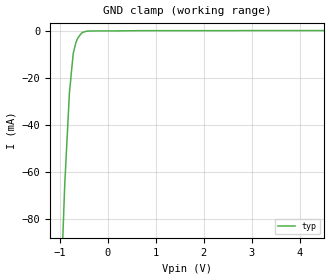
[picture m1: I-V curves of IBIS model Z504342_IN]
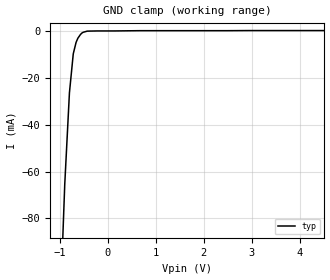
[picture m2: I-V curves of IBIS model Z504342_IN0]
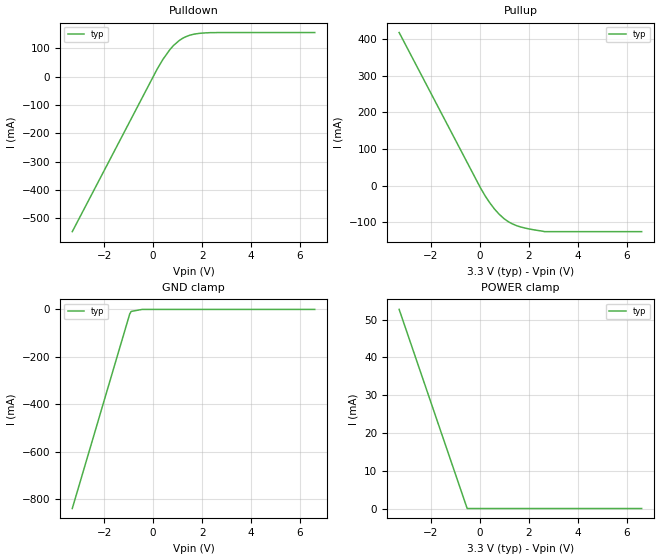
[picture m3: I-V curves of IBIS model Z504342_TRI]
| YOU ARE ONLY AUTHORIZED TO USE THIS SOFTWARE
| ACCORDING TO LICENSOR'S LICENSE RESTRICTIONS.
[IBIS Ver] 3.1
[File Name] mc74lcx244dw.ibs
[File Rev] 2.0
[Source] Measured and created by ICX Technology
[Date] Friday 7/14/00 9:08:12 AM
[Copyright]
| (C) COPYRIGHT 1993-2000
| MENTOR GRAPHICS CORPORATION
| ICX STANDARD LIBRARY, ICX PROJECT MODELING,
| ICX CUSTOM MODELING, ICX VENDOR MODEL
| ALL RIGHTS RESERVED.
| THE FOLLOWING ARE TRADEMARKS OR SERVICE MARKS OF
| MENTOR GRAPHICS CORPORATION:ICX (R), ICX STANDARD
| LIBRARY(R), ICX PROJECT MODELING(R), ICX CUSTOM
| MODELING(R), qualityIBIS(TM), MODELVIEWER(TM),
| AND MODELEDITOR(TM)
| ALL COPIES OF SOFTWARE, INCLUDING BUT NOT LIMITED TO
| ANY MODIFICATIONS, ENHANCEMENTS OR DERIVATIVE WORKS,
| MUST CONTAIN ALL MENTOR GRAPHICS CORPORATION'S
| NOTICES AND LEGENDS, INCLUDING THOSE EMBEDDED IN
| SOFTWARE AND THOSE AFFIXED TO SOFTWARE MEDIUM
| AND CONTAINER, AS RECEIVED FROM MENTOR GRAPHICS
| CORPORATION.
|  ZAP Model Builder 2.7
[Component] MC74LCX244DW
[Manufacturer] OnSemiconductor
[Package]
| variable   typ   min   max
R_pkg  .178ohms NA NA
L_pkg  4.43nH NA NA
C_pkg  .62pF NA NA
[Pin] signal_name  model_name  R_pin  L_pin C_pin
1 _G Z504342_IN0 .186 5.37n .68p
2 A0 Z504342_IN .182 4.89n .65p
3 Y3 Z504342_TRI .178 4.42n .62p
4 A1 Z504342_IN .174 3.96n .59p
5 Y2 Z504342_TRI .17 3.51n .56p
6 A2 Z504342_IN .17 3.51n .56p
7 Y1 Z504342_TRI .174 3.96n .59p
8 A3 Z504342_IN .178 4.42n .62p
9 Y0 Z504342_TRI .182 4.89n .65p
10 GROUND GND .186 5.37n .68p
11 A0 Z504342_IN .186 5.37n .68p
12 Y3 Z504342_TRI0 .182 4.89n .65p
13 A1 Z504342_IN .178 4.42n .62p
14 Y2 Z504342_TRI0 .174 3.96n .59p
15 A2 Z504342_IN .17 3.51n .56p
16 Y1 Z504342_TRI0 .17 3.51n .56p
17 A3 Z504342_IN .174 3.96n .59p
18 Y0 Z504342_TRI0 .178 4.42n .62p
19 _G Z504342_IN0 .182 4.89n .65p
20 VCC POWER .186 5.37n .68p
| Models and submodels in the file (4): Z504342_IN (Input), Z504342_IN0 (Input), Z504342_TRI (3-state), Z504342_TRI0 (3-state)
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| (C) COPYRIGHT 1993-2000
| MENTOR GRAPHICS CORPORATION
| ICX STANDARD LIBRARY, ICX PROJECT MODELING,
| ICX CUSTOM MODELING, ICX VENDOR MODEL
| ALL RIGHTS RESERVED.
| THE FOLLOWING ARE TRADEMARKS OR SERVICE MARKS OF
| MENTOR GRAPHICS CORPORATION:ICX (R), ICX STANDARD
| LIBRARY(R), ICX PROJECT MODELING(R), ICX CUSTOM
| MODELING(R), qualityIBIS(TM), MODELVIEWER(TM),
| AND MODELEDITOR(TM)
| ALL COPIES OF SOFTWARE, INCLUDING BUT NOT LIMITED TO
| ANY MODIFICATIONS, ENHANCEMENTS OR DERIVATIVE WORKS,
| MUST CONTAIN ALL MENTOR GRAPHICS CORPORATION'S
| NOTICES AND LEGENDS, INCLUDING THOSE EMBEDDED IN
| SOFTWARE AND THOSE AFFIXED TO SOFTWARE MEDIUM
| AND CONTAINER, AS RECEIVED FROM MENTOR GRAPHICS
| CORPORATION.
| Model Application Version 1.89 2/18/99.
[Model] Z504342_IN
Model_type Input
Vinl = 800.0mV
Vinh = 2.000V
C_comp 4.000pF NA NA
| variable typ   min   max
[Voltage Range] 3.300V NA NA
[GND Clamp Reference] 0.000V NA NA
[POWER Clamp Reference] 3.300V NA NA
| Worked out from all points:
|   GND clamp passes 1 mA (typ) near -0.55 V on its own axis
[GND Clamp]
-3.3V     -1.403A    NA         NA
-898.4mV  -65.33mA   NA         NA
-800.7mV  -26.23mA   NA         NA
-721.5mV  -9.481mA   NA         NA
-662.5mV  -4.622mA   NA         NA
-625mV    -2.954mA   NA         NA
-531.4mV  -620.6uA   NA         NA
-429.6mV  3.89uA     NA         NA
-214.8mV  83.47uA    NA         NA
6.6V      230.2uA    NA         NA
[POWER Clamp]
-3.3V     0A         NA         NA
6.6V      0A         NA         NA
| (C) COPYRIGHT 1993-2000
| MENTOR GRAPHICS CORPORATION
| ICX STANDARD LIBRARY, ICX PROJECT MODELING,
| ICX CUSTOM MODELING, ICX VENDOR MODEL
| ALL RIGHTS RESERVED.
| THE FOLLOWING ARE TRADEMARKS OR SERVICE MARKS OF
| MENTOR GRAPHICS CORPORATION:ICX (R), ICX STANDARD
| LIBRARY(R), ICX PROJECT MODELING(R), ICX CUSTOM
| MODELING(R), qualityIBIS(TM), MODELVIEWER(TM),
| AND MODELEDITOR(TM)
| ALL COPIES OF SOFTWARE, INCLUDING BUT NOT LIMITED TO
| ANY MODIFICATIONS, ENHANCEMENTS OR DERIVATIVE WORKS,
| MUST CONTAIN ALL MENTOR GRAPHICS CORPORATION'S
| NOTICES AND LEGENDS, INCLUDING THOSE EMBEDDED IN
| SOFTWARE AND THOSE AFFIXED TO SOFTWARE MEDIUM
| AND CONTAINER, AS RECEIVED FROM MENTOR GRAPHICS
| CORPORATION.
| Model Application Version 1.89 2/18/99.
[Model] Z504342_IN0
Model_type Input
Vinl = 800.0mV
Vinh = 2.000V
C_comp 4.000pF NA NA
| variable typ   min   max
[Voltage Range] 3.300V NA NA
[GND Clamp Reference] 0.000V NA NA
[POWER Clamp Reference] 3.300V NA NA
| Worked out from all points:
|   GND clamp passes 1 mA (typ) near -0.55 V on its own axis
[GND Clamp]
-3.3V     -1.403A    NA         NA
-898.4mV  -65.51mA   NA         NA
-800.7mV  -26.36mA   NA         NA
-720.8mV  -9.694mA   NA         NA
-662.4mV  -4.829mA   NA         NA
-625mV    -3.045mA   NA         NA
-531mV    -664.1uA   NA         NA
-429.7mV  -10.8uA    NA         NA
-214.8mV  72.59uA    NA         NA
6.6V      233.4uA    NA         NA
[POWER Clamp]
-3.3V     0A         NA         NA
6.6V      0A         NA         NA
| (C) COPYRIGHT 1993-2000
| MENTOR GRAPHICS CORPORATION
| ICX STANDARD LIBRARY, ICX PROJECT MODELING,
| ICX CUSTOM MODELING, ICX VENDOR MODEL
| ALL RIGHTS RESERVED.
| THE FOLLOWING ARE TRADEMARKS OR SERVICE MARKS OF
| MENTOR GRAPHICS CORPORATION:ICX (R), ICX STANDARD
| LIBRARY(R), ICX PROJECT MODELING(R), ICX CUSTOM
| MODELING(R), qualityIBIS(TM), MODELVIEWER(TM),
| AND MODELEDITOR(TM)
| ALL COPIES OF SOFTWARE, INCLUDING BUT NOT LIMITED TO
| ANY MODIFICATIONS, ENHANCEMENTS OR DERIVATIVE WORKS,
| MUST CONTAIN ALL MENTOR GRAPHICS CORPORATION'S
| NOTICES AND LEGENDS, INCLUDING THOSE EMBEDDED IN
| SOFTWARE AND THOSE AFFIXED TO SOFTWARE MEDIUM
| AND CONTAINER, AS RECEIVED FROM MENTOR GRAPHICS
| CORPORATION.
| Model Application Version 1.89 2/18/99.
[Model] Z504342_TRI
Model_type 3-state
Vref=0.000V
Rref=500.0ohms
Cref=50.00pF
Vmeas=1.500V
C_comp 8.000pF NA NA
| variable typ   min   max
[Voltage Range] 3.300V NA NA
[POWER Clamp Reference] 3.300V NA NA
[Pullup Reference] 3.300V NA NA
[Pulldown Reference] 0.000V NA NA
[GND Clamp Reference] 0.000V NA NA
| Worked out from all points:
|   slope of the pulldown table from 0 to 0.495 V, typ, clamps not added: 6.77 ohm
|   slope of the pullup table from 0 to 0.495 V, typ, clamps not added: 9.57 ohm
[GND Clamp]
-3.3V     -840.1mA   NA         NA
-956.8mV  -19.92mA   NA         NA
-897.1mV  -8.519mA   NA         NA
-448.5mV  0A         NA         NA
6.6V      0A         NA         NA
[Pulldown]
-3.3V     -547.7mA   NA         NA
161.2mV   25.92mA    NA         NA
400.8mV   60.93mA    NA         NA
683.8mV   95.29mA    NA         NA
825.2mV   109.3mA    NA         NA
1.069V    127.7mA    NA         NA
1.489V    146.1mA    NA         NA
2.177V    154.8mA    NA         NA
6.6V      155.8mA    NA         NA
[Pullup]
-3.3V     418.2mA    NA         NA
13mV      -4.987mA   NA         NA
205mV     -27.05mA   NA         NA
585mV     -63.06mA   NA         NA
976mV     -89.6mA    NA         NA
1.186V    -99.39mA   NA         NA
1.498V    -109.2mA   NA         NA
1.967V    -117.6mA   NA         NA
2.629V    -125.4mA   NA         NA
6.6V      -125.4mA   NA         NA
[POWER Clamp]
-3.3V     52.72mA    NA         NA
-523mV    0A         NA         NA
6.6V      0A         NA         NA
[Ramp]
| variable typ min max
dV/dt_r 1.961/424.3p NA NA
dV/dt_f 1.961/1.172n NA NA
R_load = 500.0Ohms
